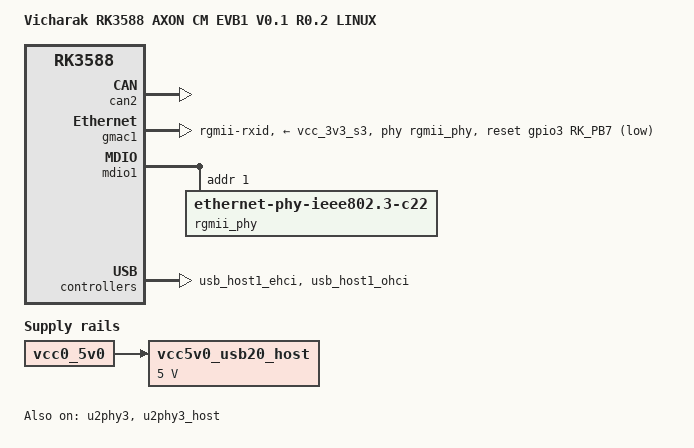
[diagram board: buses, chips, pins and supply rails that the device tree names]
// SPDX-License-Identifier: (GPL-2.0+ OR MIT)
/*
 * Copyright (C) 2026 Vicharak Computers LLP

 Axon CM Evolution Board 1 (EVB1) Includes:
 - 1x HDMI Tx0
 - 1x USB 2.0
 - 1x PCIe 2.0 on B Key
 - 1x USB 3.0 on B Key
 - 1x Audio Jack ES8388
 - 2x Audio Speaker ( Left and Right )
 - 1x Ethernet RGMII
 - 1x MIPI DPHY DSI
 - 1x Controller area network (CAN)
 - 1x Button each for POWER, RESET and BOOT
 - 1x Sim Card Slot
 - 1x Battery Charging IC (BQ25792RQMR)
 - 1x 1.8v connector
 - 1x 3.3v connector
 - 1x 5v connector
 */

/dts-v1/;

#include "rk3588-axon-cm.dtsi"
#include "rk3588-linux.dtsi"

/ {
	model = "Vicharak RK3588 AXON CM EVB1 V0.1 R0.2 LINUX";
	compatible = "vicharak,rk3588-axon-cm", "rockchip,rk3588";

	/delete-node/ chosen;
	chosen: chosen {
		bootargs = "earlycon=uart8250,mmio32,0xfeb50000 console=ttyFIQ0 irqchip.gicv3_pseudo_nmi=0";
	};

	vcc5v0_usb20_host: vcc5v0-usb20-host-regulator {
		compatible = "regulator-fixed";
		regulator-name = "vcc5v0_usb20_host";
		regulator-boot-on;
		regulator-always-on;
		enable-active-high;
		regulator-min-microvolt = <5000000>;
		regulator-max-microvolt = <5000000>;
		vin-supply = <&vcc0_5v0>;
	};
};

&can2 {
	status = "okay";
};

&gmac1 {
    clock_in_out = "output";
    phy-handle = <&rgmii_phy>;
    phy-mode = "rgmii-rxid";
    phy-supply = <&vcc_3v3_s3>;
    pinctrl-0 = <&gmac1_rgmii_bus
                &gmac1_rgmii_clk
                &gmac1_rx_bus2
                &gmac1_tx_bus2
                &gmac1_miim>;
    pinctrl-names = "default";
    snps,reset-active-low;
    snps,reset-delays-us = <0 20000 100000>;
    snps,reset-gpio = <&gpio3 RK_PB7 GPIO_ACTIVE_LOW>;
    rx_delay = <0x00>;
    tx_delay = <0x43>;
    status = "okay";
};

&mdio1 {
    rgmii_phy: phy@1 {
        compatible = "ethernet-phy-ieee802.3-c22";
        reg = <0x1>;
    };
};

&u2phy3 {
	status = "okay";
};

&u2phy3_host {
	phy-supply = <&vcc5v0_usb20_host>;
	status = "okay";
};

&usb_host1_ehci {
	status = "okay";
};

&usb_host1_ohci {
	status = "okay";
};
